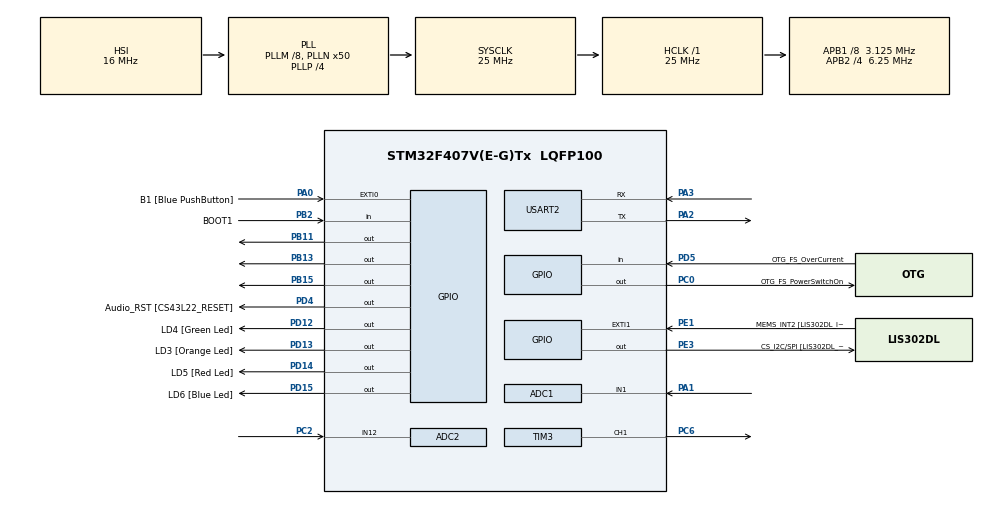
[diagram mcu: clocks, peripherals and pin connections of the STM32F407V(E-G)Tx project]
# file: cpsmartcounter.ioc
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ADC1.Channel-16\#ChannelRegularConversion=ADC_CHANNEL_1
ADC1.NbrOfConversionFlag=1
ADC1.Rank-16\#ChannelRegularConversion=1
ADC1.SamplingTime-16\#ChannelRegularConversion=ADC_SAMPLETIME_3CYCLES
ADC1.master=1
ADC2.Channel-4\#ChannelRegularConversion=ADC_CHANNEL_12
ADC2.NbrOfConversionFlag=1
ADC2.Rank-4\#ChannelRegularConversion=1
ADC2.SamplingTime-4\#ChannelRegularConversion=ADC_SAMPLETIME_3CYCLES
Mcu.Family=STM32F4
Mcu.Name=STM32F407V(E-G)Tx
Mcu.Package=LQFP100
NVIC.PriorityGroup=NVIC_PRIORITYGROUP_0
NVIC.TIM3_IRQn=true\:0\:0\:false\:false\:true\:true
PA0-WKUP.GPIO_Label=B1 [Blue PushButton]
PA0-WKUP.GPIO_ModeDefaultEXTI=GPIO_MODE_EVT_RISING
PA0-WKUP.GPIO_PuPd=GPIO_NOPULL
PA0-WKUP.Signal=GPXTI0
PA1.Signal=ADCx_IN1
PA10.GPIO_Label=OTG_FS_ID
PA10.GPIO_Mode=GPIO_MODE_AF_PP
PA10.GPIO_PuPd=GPIO_NOPULL
PA10.GPIO_Speed=GPIO_SPEED_FREQ_LOW
PA10.Signal=USB_OTG_FS_ID
PA11.GPIO_Label=OTG_FS_DM
PA11.GPIO_Mode=GPIO_MODE_AF_PP
PA11.GPIO_PuPd=GPIO_NOPULL
PA11.GPIO_Speed=GPIO_SPEED_FREQ_LOW
PA11.Signal=USB_OTG_FS_DM
PA12.GPIO_Label=OTG_FS_DP
PA12.GPIO_Mode=GPIO_MODE_AF_PP
PA12.GPIO_PuPd=GPIO_NOPULL
PA12.GPIO_Speed=GPIO_SPEED_FREQ_LOW
PA12.Signal=USB_OTG_FS_DP
PA13.GPIO_Label=SWDIO
PA13.Signal=SYS_JTMS-SWDIO
PA14.GPIO_Label=SWCLK
PA14.Signal=SYS_JTCK-SWCLK
PA2.Mode=Asynchronous
PA2.Signal=USART2_TX
PA3.Mode=Asynchronous
PA3.Signal=USART2_RX
PA4.GPIO_Label=I2S3_WS [CS43L22_LRCK]
PA4.GPIO_Mode=GPIO_MODE_AF_PP
PA4.GPIO_PuPd=GPIO_NOPULL
PA4.GPIO_Speed=GPIO_SPEED_FREQ_LOW
PA4.Signal=I2S3_WS
PA5.GPIO_Label=SPI1_SCK [LIS302DL_SCL/SPC]
PA5.GPIO_Mode=GPIO_MODE_AF_PP
PA5.GPIO_PuPd=GPIO_NOPULL
PA5.GPIO_Speed=GPIO_SPEED_FREQ_LOW
PA5.Signal=SPI1_SCK
PA6.GPIO_Label=SPI1_MISO [LIS302DL_SDO]
PA6.GPIO_Mode=GPIO_MODE_AF_PP
PA6.GPIO_PuPd=GPIO_NOPULL
PA6.GPIO_Speed=GPIO_SPEED_FREQ_LOW
PA6.Signal=SPI1_MISO
PA7.GPIO_Label=SPI1_MOSI [LIS302DL_SDA/SDI/SDO]
PA7.GPIO_Mode=GPIO_MODE_AF_PP
PA7.GPIO_PuPd=GPIO_NOPULL
PA7.GPIO_Speed=GPIO_SPEED_FREQ_LOW
PA7.Signal=SPI1_MOSI
PA9.GPIO_Label=VBUS_FS
PA9.GPIO_Mode=GPIO_MODE_INPUT
PA9.GPIO_PuPd=GPIO_NOPULL
PA9.Signal=USB_OTG_FS_VBUS
PB10.GPIO_Label=CLK_IN [MP45DT02_CLK]
PB10.GPIO_Mode=GPIO_MODE_AF_PP
PB10.GPIO_PuPd=GPIO_NOPULL
PB10.GPIO_Speed=GPIO_SPEED_FREQ_LOW
PB10.Signal=I2S2_CK
PB11.Signal=GPIO_Output
PB13.Signal=GPIO_Output
PB15.Signal=GPIO_Output
PB2.GPIO_Label=BOOT1
PB2.GPIO_Mode=GPIO_MODE_INPUT
PB2.GPIO_PuPd=GPIO_NOPULL
PB2.Signal=GPIO_Input
PB3.GPIO_Label=SWO
PB3.Signal=SYS_JTDO-SWO
PB6.GPIO_Label=Audio_SCL [CS43L22_SCL]
PB6.GPIO_Mode=GPIO_MODE_AF_OD
PB6.GPIO_PuPd=GPIO_NOPULL
PB6.GPIO_Speed=GPIO_SPEED_FREQ_LOW
PB6.Signal=I2C1_SCL
PB9.GPIO_Label=Audio_SDA [CS43L22_SDA]
PB9.GPIO_Mode=GPIO_MODE_AF_OD
PB9.GPIO_PuPd=GPIO_NOPULL
PB9.GPIO_Speed=GPIO_SPEED_FREQ_LOW
PB9.Signal=I2C1_SDA
PC0.GPIO_Label=OTG_FS_PowerSwitchOn
PC0.GPIO_PuPd=GPIO_NOPULL
PC0.GPIO_Speed=GPIO_SPEED_FREQ_LOW
PC0.PinState=GPIO_PIN_SET
PC0.Signal=GPIO_Output
PC10.GPIO_Label=I2S3_SCK [CS43L22_SCLK]
PC10.GPIO_Mode=GPIO_MODE_AF_PP
PC10.GPIO_PuPd=GPIO_NOPULL
PC10.GPIO_Speed=GPIO_SPEED_FREQ_LOW
PC10.Signal=I2S3_CK
PC12.GPIO_Label=I2S3_SD [CS43L22_SDIN]
PC12.GPIO_Mode=GPIO_MODE_AF_PP
PC12.GPIO_PuPd=GPIO_NOPULL
PC12.GPIO_Speed=GPIO_SPEED_FREQ_LOW
PC12.Signal=I2S3_SD
PC14-OSC32_IN.GPIO_Label=PC14-OSC32_IN
PC14-OSC32_IN.Signal=RCC_OSC32_IN
PC15-OSC32_OUT.GPIO_Label=PC15-OSC32_OUT
PC15-OSC32_OUT.Signal=RCC_OSC32_OUT
PC2.Signal=ADCx_IN12
PC3.GPIO_Label=PDM_OUT [MP45DT02_DOUT]
PC3.GPIO_Mode=GPIO_MODE_AF_PP
PC3.GPIO_PuPd=GPIO_NOPULL
PC3.GPIO_Speed=GPIO_SPEED_FREQ_LOW
PC3.Signal=I2S2_SD
PC6.Signal=S_TIM3_CH1
PC7.GPIO_Label=I2S3_MCK [CS43L22_MCLK]
PC7.GPIO_Mode=GPIO_MODE_AF_PP
PC7.GPIO_PuPd=GPIO_NOPULL
PC7.GPIO_Speed=GPIO_SPEED_FREQ_LOW
PC7.Signal=I2S3_MCK
PD12.GPIO_Label=LD4 [Green Led]
PD12.GPIO_PuPd=GPIO_NOPULL
PD12.GPIO_Speed=GPIO_SPEED_FREQ_LOW
PD12.Signal=GPIO_Output
PD13.GPIO_Label=LD3 [Orange Led]
PD13.GPIO_PuPd=GPIO_NOPULL
PD13.GPIO_Speed=GPIO_SPEED_FREQ_LOW
PD13.Signal=GPIO_Output
PD14.GPIO_Label=LD5 [Red Led]
PD14.GPIO_PuPd=GPIO_NOPULL
PD14.GPIO_Speed=GPIO_SPEED_FREQ_LOW
PD14.Signal=GPIO_Output
PD15.GPIO_Label=LD6 [Blue Led]
PD15.GPIO_PuPd=GPIO_NOPULL
PD15.GPIO_Speed=GPIO_SPEED_FREQ_LOW
PD15.Signal=GPIO_Output
PD4.GPIO_Label=Audio_RST [CS43L22_RESET]
PD4.GPIO_PuPd=GPIO_NOPULL
PD4.GPIO_Speed=GPIO_SPEED_FREQ_LOW
PD4.Signal=GPIO_Output
PD5.GPIO_Label=OTG_FS_OverCurrent
PD5.GPIO_Mode=GPIO_MODE_INPUT
PD5.GPIO_PuPd=GPIO_NOPULL
PD5.Signal=GPIO_Input
PE1.GPIO_Label=MEMS_INT2 [LIS302DL_INT2]
PE1.GPIO_ModeDefaultEXTI=GPIO_MODE_EVT_RISING
PE1.GPIO_PuPd=GPIO_NOPULL
PE1.Signal=GPXTI1
PE3.GPIO_Label=CS_I2C/SPI [LIS302DL_CS_I2C/SPI]
PE3.GPIO_PuPd=GPIO_NOPULL
PE3.GPIO_Speed=GPIO_SPEED_FREQ_LOW
PE3.Signal=GPIO_Output
PH0-OSC_IN.GPIO_Label=PH0-OSC_IN
PH0-OSC_IN.Signal=RCC_OSC_IN
PH1-OSC_OUT.GPIO_Label=PH1-OSC_OUT
PH1-OSC_OUT.Signal=RCC_OSC_OUT
ProjectManager.HeapSize=0x200
ProjectManager.StackSize=0x400
ProjectManager.TargetToolchain=SW4STM32
RCC.48MHZClocksFreq_Value=14285714.285714285
RCC.AHBFreq_Value=25000000
RCC.APB1CLKDivider=RCC_HCLK_DIV8
RCC.APB1Freq_Value=3125000
RCC.APB1TimFreq_Value=6250000
RCC.APB2CLKDivider=RCC_HCLK_DIV4
RCC.APB2Freq_Value=6250000
RCC.APB2TimFreq_Value=12500000
RCC.CortexFreq_Value=25000000
RCC.HCLKFreq_Value=25000000
RCC.HSE_VALUE=8000000
RCC.HSI_VALUE=16000000
RCC.LSE_VALUE=32768
RCC.PLLM=8
RCC.PLLN=50
RCC.PLLP=RCC_PLLP_DIV4
RCC.PLLQ=7
RCC.SYSCLKFreq_VALUE=25000000
RCC.SYSCLKSource=RCC_SYSCLKSOURCE_PLLCLK
RCC.VCOOutputFreq_Value=100000000
SH.ADCx_IN1.0=ADC1_IN1,IN1
SH.ADCx_IN12.0=ADC2_IN12,IN12
SH.S_TIM3_CH1.0=TIM3_CH1,PWM Generation1 CH1
TIM3.Channel-PWM\ Generation1\ CH1=TIM_CHANNEL_1
TIM3.Period=999
TIM3.Prescaler=4999
USART2.VirtualMode=VM_ASYNC
VP_TIM3_VS_ClockSourceINT.Mode=Internal
board=STM32F4DISCOVERY

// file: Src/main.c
/**
  ******************************************************************************
  * @file           : main.c
  * @brief          : Main program body
  ******************************************************************************
  ** This notice applies to any and all portions of this file
  * that are not between comment pairs USER CODE BEGIN and
  * USER CODE END. Other portions of this file, whether
  * inserted by the user or by software development tools
  * are owned by their respective copyright owners.
  *
  * COPYRIGHT(c) 2018 STMicroelectronics
  *
  * Redistribution and use in source and binary forms, with or without modification,
  * are permitted provided that the following conditions are met:
  *   1. Redistributions of source code must retain the above copyright notice,
  *      this list of conditions and the following disclaimer.
  *   2. Redistributions in binary form must reproduce the above copyright notice,
  *      this list of conditions and the following disclaimer in the documentation
  *      and/or other materials provided with the distribution.
  *   3. Neither the name of STMicroelectronics nor the names of its contributors
  *      may be used to endorse or promote products derived from this software
  *      without specific prior written permission.
  *
  * THIS SOFTWARE IS PROVIDED BY THE COPYRIGHT HOLDERS AND CONTRIBUTORS "AS IS"
  * AND ANY EXPRESS OR IMPLIED WARRANTIES, INCLUDING, BUT NOT LIMITED TO, THE
  * IMPLIED WARRANTIES OF MERCHANTABILITY AND FITNESS FOR A PARTICULAR PURPOSE ARE
  * DISCLAIMED. IN NO EVENT SHALL THE COPYRIGHT HOLDER OR CONTRIBUTORS BE LIABLE
  * FOR ANY DIRECT, INDIRECT, INCIDENTAL, SPECIAL, EXEMPLARY, OR CONSEQUENTIAL
  * DAMAGES (INCLUDING, BUT NOT LIMITED TO, PROCUREMENT OF SUBSTITUTE GOODS OR
  * SERVICES; LOSS OF USE, DATA, OR PROFITS; OR BUSINESS INTERRUPTION) HOWEVER
  * CAUSED AND ON ANY THEORY OF LIABILITY, WHETHER IN CONTRACT, STRICT LIABILITY,
  * OR TORT (INCLUDING NEGLIGENCE OR OTHERWISE) ARISING IN ANY WAY OUT OF THE USE
  * OF THIS SOFTWARE, EVEN IF ADVISED OF THE POSSIBILITY OF SUCH DAMAGE.
  *
  ******************************************************************************
  */
#include "main.h"
#include "stm32f4xx_hal.h"

/* USER CODE BEGIN Includes */
#define WINDOW 1
#define THRESHOLD1 80
#define THRESHOLD2 80
#define DELAY 125
#define UART_READ (1000 / DELAY)
#define MAX_TIME (2000 / DELAY)
#define MIN_GAP (250 / DELAY)
#define debug 0
/* USER CODE END Includes */

ADC_HandleTypeDef hadc1;
ADC_HandleTypeDef hadc2;

TIM_HandleTypeDef htim3;

UART_HandleTypeDef huart2;

/* USER CODE BEGIN PV */
/* Private variables ---------------------------------------------------------*/
uint32_t in_buf[WINDOW], out_buf[WINDOW], sm_in, sm_out;
uint8_t idx;
uint8_t start_input;
uint8_t uart_count;
uint8_t sensor_state;
uint8_t uart_in[2];
int cnt;

uint8_t current_state;
uint8_t transition[8][8];
uint8_t condition[8][8];
int8_t output[8][8];

int16_t remaining_time;
int16_t remaining_gap;
/* USER CODE END PV */

void SystemClock_Config(void);
static void MX_GPIO_Init(void);
static void MX_USART2_UART_Init(void);
static void MX_ADC2_Init(void);
static void MX_ADC1_Init(void);
static void MX_TIM3_Init(void);

void HAL_TIM_MspPostInit(TIM_HandleTypeDef *htim);

/* USER CODE BEGIN PFP */
/* Private function prototypes -----------------------------------------------*/
void initialize();
uint8_t get_input();
void change_state(uint8_t);
void send_data(int8_t);
void change_status(uint8_t);
void check_reset();
/* USER CODE END PFP */

/* USER CODE BEGIN 0 */
void initialize()
{
	// transition[old_state][new_state] = 1;	-- if not possible -- 0
	// condition[old_state][new_state] = input	-- input = 2*in_state + out_state
	// output[old_state][new_state] = +1 (increment) or -1 (decrement)

	current_state = 0;

	transition[0][1] = 1;
	condition[0][1] = 1;
	output[0][1] = 0;

	transition[0][4] = 1;
	condition[0][4] = 2;
	output[0][4] = 0;

	transition[0][7] = 1;
	condition[0][7] = 3;
	output[0][7] = 0;

	transition[1][2] = 1;
	condition[1][2] = 3;	// or 0 -- check in change_state(uint8_t, uint8_t)
	output[1][2] = 0;

	// ADDED
	transition[1][3] = 1;
	condition[1][3] = 2;
	output[1][3] = 0;

//	transition[2][0] = 1;
//	condition[2][0] = 0;
//	output[2][0] = +1;

	transition[2][3] = 1;
	condition[2][3] = 2;
	output[2][3] = 0;

	transition[3][0] = 1;
	condition[3][0] = 0;
	output[3][0] = +1;

	transition[4][5] = 1;
	condition[4][5] = 3;	// or 0 -- check in change_state(uint8_t, uint8_t)
	output[4][5] = 0;

	// ADDED
	transition[4][6] = 1;
	condition[4][6] = 1;
	output[4][6] = 0;

//	transition[5][0] = 1;
//	condition[5][0] = 0;
//	output[5][0] = -1;

	transition[5][6] = 1;
	condition[5][6] = 1;
	output[5][6] = 0;

	transition[6][0] = 1;
	condition[6][0] = 0;
	output[6][0] = -1;

	transition[7][0] = 1;
	condition[7][0] = 0;
	output[7][0] = 0;

	transition[7][3] = 1;
	condition[7][3] = 2;
	output[7][3] = 0;

	transition[7][6] = 1;
	condition[7][6] = 1;
	output[7][6] = 0;
}

uint8_t get_input()
{
	HAL_ADC_Start(&hadc1);
	HAL_ADC_Start(&hadc2);

	uint32_t inside = HAL_ADC_GetValue(&hadc1);
	uint32_t outside = HAL_ADC_GetValue(&hadc2);

	sm_in += (inside - in_buf[idx]);
	sm_out += (outside - out_buf[idx]);

	in_buf[idx] = inside;
	out_buf[idx] = outside;

	++idx;

	if(idx == WINDOW)
	{
		start_input = 1;
		idx -= WINDOW;
	}

	if(debug == 1)
	{
		if(cnt >= 2*MAX_TIME)
		{
			cnt -= 2*MAX_TIME;
			char str[35];
			sprintf(str, "%4d %4d: %d |", (int)(sm_in / WINDOW), (int)(sm_out / WINDOW), current_state);
			HAL_UART_Transmit(&huart2, str, 12, 1000);
		}
		++cnt;
	}

	inside = (sm_in / WINDOW < THRESHOLD1? 1: 0);
	outside = (sm_out / WINDOW < THRESHOLD2? 1: 0);

	return 2*inside + outside;
}

void change_state(uint8_t input)
{
	int i;
	for(i = 0; i < 8; ++i)
	{
		if(transition[current_state][i] == 1 && input == condition[current_state][i])
		{
			GPIOD->ODR ^= (1<<15);
			send_data(output[current_state][i]);
			current_state = i;
			remaining_time = MAX_TIME;
			return;
		}
	}

	if(current_state == 1 && input == 0)
	{
		GPIOD->ODR ^= (1<<15);
		send_data(output[1][2]);
		current_state = 2;
		remaining_time = MAX_TIME;
	}

	if(current_state == 4 && input == 0)
	{
		GPIOD->ODR ^= (1<<15);
		send_data(output[4][5]);
		current_state = 5;
		remaining_time = MAX_TIME;
	}
}

void send_data(int8_t value)
{
	if(value == 0)
		return;

	if(remaining_gap > 0)
		return;

	GPIOD->ODR ^= (1<<14);

	if(debug == 0)
	{
		if(value == 1)
			HAL_UART_Transmit(&huart2, "I", 1, 100);
		else
			HAL_UART_Transmit(&huart2, "D", 1, 100);
	}

	remaining_gap = MIN_GAP;
}

void change_status(uint8_t count)
{
	if(count > 0)
		HAL_GPIO_WritePin(GPIOB, GPIO_PIN_11, 1);
	else
		HAL_GPIO_WritePin(GPIOB, GPIO_PIN_11, 0);

	if(count > 2)
		HAL_GPIO_WritePin(GPIOB, GPIO_PIN_13, 1);
	else
		HAL_GPIO_WritePin(GPIOB, GPIO_PIN_13, 0);

	if(count > 5)
		HAL_GPIO_WritePin(GPIOB, GPIO_PIN_15, 1);
	else
		HAL_GPIO_WritePin(GPIOB, GPIO_PIN_15, 0);
}

void check_reset()
{
	if(current_state == 0)
	{
		remaining_time = MAX_TIME;
		return;
	}

	--remaining_time;
	if(remaining_time <= 0)
	{
		current_state = 0;
		remaining_time = MAX_TIME;
	}

	--remaining_gap;
	if(remaining_gap <= 0)
		remaining_gap = 0;
}
/* USER CODE END 0 */

int main(void)
{

  /* MCU Configuration----------------------------------------------------------*/

  /* Reset of all peripherals, Initializes the Flash interface and the Systick. */
  HAL_Init();

  /* USER CODE BEGIN Init */
  initialize();
  /* USER CODE END Init */

  /* Configure the system clock */
  SystemClock_Config();

  /* Initialize all configured peripherals */
  MX_GPIO_Init();
  MX_USART2_UART_Init();
  MX_ADC2_Init();
  MX_ADC1_Init();
  MX_TIM3_Init();
  /* USER CODE BEGIN 2 */
//  HAL_TIM_Base_Start_IT(&htim3);
  /* USER CODE END 2 */

  /* Infinite loop */
  /* USER CODE BEGIN WHILE */
  while (1)
  {
	  sensor_state = get_input();

	  if(start_input != 1)
		  continue;

	  change_state(sensor_state);

	  if(huart2.RxState == HAL_UART_STATE_READY)
	  {
		  GPIOD->ODR ^= (1<<13);
		  if(HAL_UART_Receive(&huart2, uart_in, 1, 100) == HAL_OK)
		  {
			  GPIOD->ODR ^= (1<<12);
			  change_status(uart_in[0]);
		  }
	  }

	  check_reset();
  /* USER CODE END WHILE */

  /* USER CODE BEGIN 3 */
//	  HAL_Delay(DELAY);
  }
  /* USER CODE END 3 */

}

void SystemClock_Config(void)
{

  RCC_OscInitTypeDef RCC_OscInitStruct;
  RCC_ClkInitTypeDef RCC_ClkInitStruct;

    /**Configure the main internal regulator output voltage
    */
  __HAL_RCC_PWR_CLK_ENABLE();

  __HAL_PWR_VOLTAGESCALING_CONFIG(PWR_REGULATOR_VOLTAGE_SCALE1);

    /**Initializes the CPU, AHB and APB busses clocks
    */
  RCC_OscInitStruct.OscillatorType = RCC_OSCILLATORTYPE_HSI;
  RCC_OscInitStruct.HSIState = RCC_HSI_ON;
  RCC_OscInitStruct.HSICalibrationValue = 16;
  RCC_OscInitStruct.PLL.PLLState = RCC_PLL_ON;
  RCC_OscInitStruct.PLL.PLLSource = RCC_PLLSOURCE_HSI;
  RCC_OscInitStruct.PLL.PLLM = 8;
  RCC_OscInitStruct.PLL.PLLN = 50;
  RCC_OscInitStruct.PLL.PLLP = RCC_PLLP_DIV4;
  RCC_OscInitStruct.PLL.PLLQ = 7;
  if (HAL_RCC_OscConfig(&RCC_OscInitStruct) != HAL_OK)
  {
    _Error_Handler(__FILE__, __LINE__);
  }

    /**Initializes the CPU, AHB and APB busses clocks
    */
  RCC_ClkInitStruct.ClockType = RCC_CLOCKTYPE_HCLK|RCC_CLOCKTYPE_SYSCLK
                              |RCC_CLOCKTYPE_PCLK1|RCC_CLOCKTYPE_PCLK2;
  RCC_ClkInitStruct.SYSCLKSource = RCC_SYSCLKSOURCE_PLLCLK;
  RCC_ClkInitStruct.AHBCLKDivider = RCC_SYSCLK_DIV1;
  RCC_ClkInitStruct.APB1CLKDivider = RCC_HCLK_DIV8;
  RCC_ClkInitStruct.APB2CLKDivider = RCC_HCLK_DIV4;

  if (HAL_RCC_ClockConfig(&RCC_ClkInitStruct, FLASH_LATENCY_0) != HAL_OK)
  {
    _Error_Handler(__FILE__, __LINE__);
  }

    /**Configure the Systick interrupt time
    */
  HAL_SYSTICK_Config(HAL_RCC_GetHCLKFreq()/1000);

    /**Configure the Systick
    */
  HAL_SYSTICK_CLKSourceConfig(SYSTICK_CLKSOURCE_HCLK);

  /* SysTick_IRQn interrupt configuration */
  HAL_NVIC_SetPriority(SysTick_IRQn, 0, 0);
}

/* ADC1 init function */
static void MX_ADC1_Init(void)
{

  ADC_ChannelConfTypeDef sConfig;

    /**Configure the global features of the ADC (Clock, Resolution, Data Alignment and number of conversion)
    */
  hadc1.Instance = ADC1;
  hadc1.Init.ClockPrescaler = ADC_CLOCK_SYNC_PCLK_DIV2;
  hadc1.Init.Resolution = ADC_RESOLUTION_12B;
  hadc1.Init.ScanConvMode = DISABLE;
  hadc1.Init.ContinuousConvMode = DISABLE;
  hadc1.Init.DiscontinuousConvMode = DISABLE;
  hadc1.Init.ExternalTrigConvEdge = ADC_EXTERNALTRIGCONVEDGE_NONE;
  hadc1.Init.ExternalTrigConv = ADC_SOFTWARE_START;
  hadc1.Init.DataAlign = ADC_DATAALIGN_RIGHT;
  hadc1.Init.NbrOfConversion = 1;
  hadc1.Init.DMAContinuousRequests = DISABLE;
  hadc1.Init.EOCSelection = ADC_EOC_SINGLE_CONV;
  if (HAL_ADC_Init(&hadc1) != HAL_OK)
  {
    _Error_Handler(__FILE__, __LINE__);
  }

    /**Configure for the selected ADC regular channel its corresponding rank in the sequencer and its sample time.
    */
  sConfig.Channel = ADC_CHANNEL_1;
  sConfig.Rank = 1;
  sConfig.SamplingTime = ADC_SAMPLETIME_3CYCLES;
  if (HAL_ADC_ConfigChannel(&hadc1, &sConfig) != HAL_OK)
  {
    _Error_Handler(__FILE__, __LINE__);
  }

}

/* ADC2 init function */
static void MX_ADC2_Init(void)
{

  ADC_ChannelConfTypeDef sConfig;

    /**Configure the global features of the ADC (Clock, Resolution, Data Alignment and number of conversion)
    */
  hadc2.Instance = ADC2;
  hadc2.Init.ClockPrescaler = ADC_CLOCK_SYNC_PCLK_DIV2;
  hadc2.Init.Resolution = ADC_RESOLUTION_12B;
  hadc2.Init.ScanConvMode = DISABLE;
  hadc2.Init.ContinuousConvMode = DISABLE;
  hadc2.Init.DiscontinuousConvMode = DISABLE;
  hadc2.Init.ExternalTrigConvEdge = ADC_EXTERNALTRIGCONVEDGE_NONE;
  hadc2.Init.ExternalTrigConv = ADC_SOFTWARE_START;
  hadc2.Init.DataAlign = ADC_DATAALIGN_RIGHT;
  hadc2.Init.NbrOfConversion = 1;
  hadc2.Init.DMAContinuousRequests = DISABLE;
  hadc2.Init.EOCSelection = ADC_EOC_SINGLE_CONV;
  if (HAL_ADC_Init(&hadc2) != HAL_OK)
  {
    _Error_Handler(__FILE__, __LINE__);
  }

    /**Configure for the selected ADC regular channel its corresponding rank in the sequencer and its sample time.
    */
  sConfig.Channel = ADC_CHANNEL_12;
  sConfig.Rank = 1;
  sConfig.SamplingTime = ADC_SAMPLETIME_3CYCLES;
  if (HAL_ADC_ConfigChannel(&hadc2, &sConfig) != HAL_OK)
  {
    _Error_Handler(__FILE__, __LINE__);
  }

}

/* TIM3 init function */
static void MX_TIM3_Init(void)
{

  TIM_ClockConfigTypeDef sClockSourceConfig;
  TIM_MasterConfigTypeDef sMasterConfig;
  TIM_OC_InitTypeDef sConfigOC;

  htim3.Instance = TIM3;
  htim3.Init.Prescaler = 4999;
  htim3.Init.CounterMode = TIM_COUNTERMODE_UP;
  htim3.Init.Period = 999;
  htim3.Init.ClockDivision = TIM_CLOCKDIVISION_DIV1;
  if (HAL_TIM_Base_Init(&htim3) != HAL_OK)
  {
    _Error_Handler(__FILE__, __LINE__);
  }

  sClockSourceConfig.ClockSource = TIM_CLOCKSOURCE_INTERNAL;
  if (HAL_TIM_ConfigClockSource(&htim3, &sClockSourceConfig) != HAL_OK)
  {
    _Error_Handler(__FILE__, __LINE__);
  }

  if (HAL_TIM_PWM_Init(&htim3) != HAL_OK)
  {
    _Error_Handler(__FILE__, __LINE__);
  }

  sMasterConfig.MasterOutputTrigger = TIM_TRGO_RESET;
  sMasterConfig.MasterSlaveMode = TIM_MASTERSLAVEMODE_DISABLE;
  if (HAL_TIMEx_MasterConfigSynchronization(&htim3, &sMasterConfig) != HAL_OK)
  {
    _Error_Handler(__FILE__, __LINE__);
  }

  sConfigOC.OCMode = TIM_OCMODE_PWM1;
  sConfigOC.Pulse = 0;
  sConfigOC.OCPolarity = TIM_OCPOLARITY_HIGH;
  sConfigOC.OCFastMode = TIM_OCFAST_DISABLE;
  if (HAL_TIM_PWM_ConfigChannel(&htim3, &sConfigOC, TIM_CHANNEL_1) != HAL_OK)
  {
    _Error_Handler(__FILE__, __LINE__);
  }

  HAL_TIM_MspPostInit(&htim3);

}

/* USART2 init function */
static void MX_USART2_UART_Init(void)
{

  huart2.Instance = USART2;
  huart2.Init.BaudRate = 115200;
  huart2.Init.WordLength = UART_WORDLENGTH_8B;
  huart2.Init.StopBits = UART_STOPBITS_1;
  huart2.Init.Parity = UART_PARITY_NONE;
  huart2.Init.Mode = UART_MODE_TX_RX;
  huart2.Init.HwFlowCtl = UART_HWCONTROL_NONE;
  huart2.Init.OverSampling = UART_OVERSAMPLING_16;
  if (HAL_UART_Init(&huart2) != HAL_OK)
  {
    _Error_Handler(__FILE__, __LINE__);
  }

}

/** Configure pins as
        * Analog
        * Input
        * Output
        * EVENT_OUT
        * EXTI
     PC3   ------> I2S2_SD
     PA4   ------> I2S3_WS
     PA5   ------> SPI1_SCK
     PA6   ------> SPI1_MISO
     PA7   ------> SPI1_MOSI
     PB10   ------> I2S2_CK
     PC7   ------> I2S3_MCK
     PA9   ------> USB_OTG_FS_VBUS
     PA10   ------> USB_OTG_FS_ID
     PA11   ------> USB_OTG_FS_DM
     PA12   ------> USB_OTG_FS_DP
     PC10   ------> I2S3_CK
     PC12   ------> I2S3_SD
     PB6   ------> I2C1_SCL
     PB9   ------> I2C1_SDA
*/
static void MX_GPIO_Init(void)
{

  GPIO_InitTypeDef GPIO_InitStruct;

  /* GPIO Ports Clock Enable */
  __HAL_RCC_GPIOE_CLK_ENABLE();
  __HAL_RCC_GPIOC_CLK_ENABLE();
  __HAL_RCC_GPIOH_CLK_ENABLE();
  __HAL_RCC_GPIOA_CLK_ENABLE();
  __HAL_RCC_GPIOB_CLK_ENABLE();
  __HAL_RCC_GPIOD_CLK_ENABLE();

  /*Configure GPIO pin Output Level */
  HAL_GPIO_WritePin(CS_I2C_SPI_GPIO_Port, CS_I2C_SPI_Pin, GPIO_PIN_RESET);

  /*Configure GPIO pin Output Level */
  HAL_GPIO_WritePin(OTG_FS_PowerSwitchOn_GPIO_Port, OTG_FS_PowerSwitchOn_Pin, GPIO_PIN_SET);

  /*Configure GPIO pin Output Level */
  HAL_GPIO_WritePin(GPIOB, GPIO_PIN_11|GPIO_PIN_13|GPIO_PIN_15, GPIO_PIN_RESET);

  /*Configure GPIO pin Output Level */
  HAL_GPIO_WritePin(GPIOD, LD4_Pin|LD3_Pin|LD5_Pin|LD6_Pin
                          |Audio_RST_Pin, GPIO_PIN_RESET);

  /*Configure GPIO pin : CS_I2C_SPI_Pin */
  GPIO_InitStruct.Pin = CS_I2C_SPI_Pin;
  GPIO_InitStruct.Mode = GPIO_MODE_OUTPUT_PP;
  GPIO_InitStruct.Pull = GPIO_NOPULL;
  GPIO_InitStruct.Speed = GPIO_SPEED_FREQ_LOW;
  HAL_GPIO_Init(CS_I2C_SPI_GPIO_Port, &GPIO_InitStruct);

  /*Configure GPIO pin : OTG_FS_PowerSwitchOn_Pin */
  GPIO_InitStruct.Pin = OTG_FS_PowerSwitchOn_Pin;
  GPIO_InitStruct.Mode = GPIO_MODE_OUTPUT_PP;
  GPIO_InitStruct.Pull = GPIO_NOPULL;
  GPIO_InitStruct.Speed = GPIO_SPEED_FREQ_LOW;
  HAL_GPIO_Init(OTG_FS_PowerSwitchOn_GPIO_Port, &GPIO_InitStruct);

  /*Configure GPIO pin : PDM_OUT_Pin */
  GPIO_InitStruct.Pin = PDM_OUT_Pin;
  GPIO_InitStruct.Mode = GPIO_MODE_AF_PP;
  GPIO_InitStruct.Pull = GPIO_NOPULL;
  GPIO_InitStruct.Speed = GPIO_SPEED_FREQ_LOW;
  GPIO_InitStruct.Alternate = GPIO_AF5_SPI2;
  HAL_GPIO_Init(PDM_OUT_GPIO_Port, &GPIO_InitStruct);

  /*Configure GPIO pin : B1_Pin */
  GPIO_InitStruct.Pin = B1_Pin;
  GPIO_InitStruct.Mode = GPIO_MODE_EVT_RISING;
  GPIO_InitStruct.Pull = GPIO_NOPULL;
  HAL_GPIO_Init(B1_GPIO_Port, &GPIO_InitStruct);

  /*Configure GPIO pin : I2S3_WS_Pin */
  GPIO_InitStruct.Pin = I2S3_WS_Pin;
  GPIO_InitStruct.Mode = GPIO_MODE_AF_PP;
  GPIO_InitStruct.Pull = GPIO_NOPULL;
  GPIO_InitStruct.Speed = GPIO_SPEED_FREQ_LOW;
  GPIO_InitStruct.Alternate = GPIO_AF6_SPI3;
  HAL_GPIO_Init(I2S3_WS_GPIO_Port, &GPIO_InitStruct);

  /*Configure GPIO pins : SPI1_SCK_Pin SPI1_MISO_Pin SPI1_MOSI_Pin */
  GPIO_InitStruct.Pin = SPI1_SCK_Pin|SPI1_MISO_Pin|SPI1_MOSI_Pin;
  GPIO_InitStruct.Mode = GPIO_MODE_AF_PP;
  GPIO_InitStruct.Pull = GPIO_NOPULL;
  GPIO_InitStruct.Speed = GPIO_SPEED_FREQ_LOW;
  GPIO_InitStruct.Alternate = GPIO_AF5_SPI1;
  HAL_GPIO_Init(GPIOA, &GPIO_InitStruct);

  /*Configure GPIO pin : BOOT1_Pin */
  GPIO_InitStruct.Pin = BOOT1_Pin;
  GPIO_InitStruct.Mode = GPIO_MODE_INPUT;
  GPIO_InitStruct.Pull = GPIO_NOPULL;
  HAL_GPIO_Init(BOOT1_GPIO_Port, &GPIO_InitStruct);

  /*Configure GPIO pin : CLK_IN_Pin */
  GPIO_InitStruct.Pin = CLK_IN_Pin;
  GPIO_InitStruct.Mode = GPIO_MODE_AF_PP;
  GPIO_InitStruct.Pull = GPIO_NOPULL;
  GPIO_InitStruct.Speed = GPIO_SPEED_FREQ_LOW;
  GPIO_InitStruct.Alternate = GPIO_AF5_SPI2;
  HAL_GPIO_Init(CLK_IN_GPIO_Port, &GPIO_InitStruct);

  /*Configure GPIO pins : PB11 PB13 PB15 */
  GPIO_InitStruct.Pin = GPIO_PIN_11|GPIO_PIN_13|GPIO_PIN_15;
  GPIO_InitStruct.Mode = GPIO_MODE_OUTPUT_PP;
  GPIO_InitStruct.Pull = GPIO_NOPULL;
  GPIO_InitStruct.Speed = GPIO_SPEED_FREQ_LOW;
  HAL_GPIO_Init(GPIOB, &GPIO_InitStruct);

  /*Configure GPIO pins : LD4_Pin LD3_Pin LD5_Pin LD6_Pin
                           Audio_RST_Pin */
  GPIO_InitStruct.Pin = LD4_Pin|LD3_Pin|LD5_Pin|LD6_Pin
                          |Audio_RST_Pin;
  GPIO_InitStruct.Mode = GPIO_MODE_OUTPUT_PP;
  GPIO_InitStruct.Pull = GPIO_NOPULL;
  GPIO_InitStruct.Speed = GPIO_SPEED_FREQ_LOW;
  HAL_GPIO_Init(GPIOD, &GPIO_InitStruct);

  /*Configure GPIO pins : I2S3_MCK_Pin I2S3_SCK_Pin I2S3_SD_Pin */
  GPIO_InitStruct.Pin = I2S3_MCK_Pin|I2S3_SCK_Pin|I2S3_SD_Pin;
  GPIO_InitStruct.Mode = GPIO_MODE_AF_PP;
  GPIO_InitStruct.Pull = GPIO_NOPULL;
  GPIO_InitStruct.Speed = GPIO_SPEED_FREQ_LOW;
  GPIO_InitStruct.Alternate = GPIO_AF6_SPI3;
  HAL_GPIO_Init(GPIOC, &GPIO_InitStruct);

  /*Configure GPIO pin : VBUS_FS_Pin */
  GPIO_InitStruct.Pin = VBUS_FS_Pin;
  GPIO_InitStruct.Mode = GPIO_MODE_INPUT;
  GPIO_InitStruct.Pull = GPIO_NOPULL;
  HAL_GPIO_Init(VBUS_FS_GPIO_Port, &GPIO_InitStruct);

  /*Configure GPIO pins : OTG_FS_ID_Pin OTG_FS_DM_Pin OTG_FS_DP_Pin */
  GPIO_InitStruct.Pin = OTG_FS_ID_Pin|OTG_FS_DM_Pin|OTG_FS_DP_Pin;
  GPIO_InitStruct.Mode = GPIO_MODE_AF_PP;
  GPIO_InitStruct.Pull = GPIO_NOPULL;
  GPIO_InitStruct.Speed = GPIO_SPEED_FREQ_LOW;
  GPIO_InitStruct.Alternate = GPIO_AF10_OTG_FS;
  HAL_GPIO_Init(GPIOA, &GPIO_InitStruct);

  /*Configure GPIO pin : OTG_FS_OverCurrent_Pin */
  GPIO_InitStruct.Pin = OTG_FS_OverCurrent_Pin;
  GPIO_InitStruct.Mode = GPIO_MODE_INPUT;
  GPIO_InitStruct.Pull = GPIO_NOPULL;
  HAL_GPIO_Init(OTG_FS_OverCurrent_GPIO_Port, &GPIO_InitStruct);

  /*Configure GPIO pins : Audio_SCL_Pin Audio_SDA_Pin */
  GPIO_InitStruct.Pin = Audio_SCL_Pin|Audio_SDA_Pin;
  GPIO_InitStruct.Mode = GPIO_MODE_AF_OD;
  GPIO_InitStruct.Pull = GPIO_PULLUP;
  GPIO_InitStruct.Speed = GPIO_SPEED_FREQ_LOW;
  GPIO_InitStruct.Alternate = GPIO_AF4_I2C1;
  HAL_GPIO_Init(GPIOB, &GPIO_InitStruct);

  /*Configure GPIO pin : MEMS_INT2_Pin */
  GPIO_InitStruct.Pin = MEMS_INT2_Pin;
  GPIO_InitStruct.Mode = GPIO_MODE_EVT_RISING;
  GPIO_InitStruct.Pull = GPIO_NOPULL;
  HAL_GPIO_Init(MEMS_INT2_GPIO_Port, &GPIO_InitStruct);

}

void _Error_Handler(char *file, int line)
{
  while(1)
  {
  }
}

/************************ (C) COPYRIGHT STMicroelectronics *****END OF FILE****/
